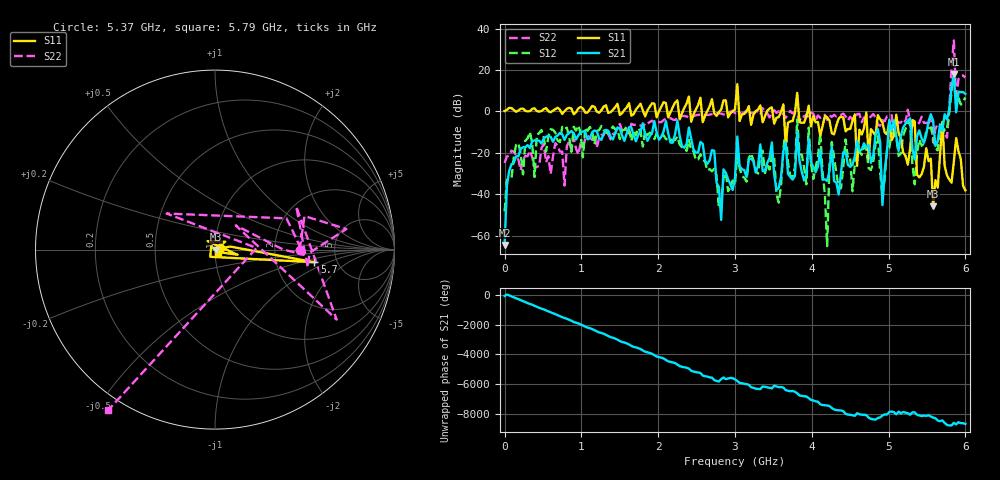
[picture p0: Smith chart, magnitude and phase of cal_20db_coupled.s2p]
#  HZ  S  DB  R  50.0
! Rohde & Schwarz ZVL13 2Ports - Version 3.20 - 1303.6509k13 SN: 100953
! Date: 2024-10-09 08:24:26
! Data & Calibration Information:
! Trc1:S11(TOSM) Trc4:S21(TOSM) Trc2:S12(TOSM) Trc3:S22(TOSM)
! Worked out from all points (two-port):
!   201 points, 9 kHz to 6 GHz, reference 50 ohm
!   highest |S21| = 18.05 dB at 5.85 GHz (marker M1); lowest = -64.5 dB at 9 kHz (marker M2)
!   |S21| within 3 dB of the highest: 5.835237 GHz to 5.854857 GHz (19.62 MHz wide, 0.336 % of centre)
!   lowest |S11| = -45.9 dB at 5.58 GHz (marker M3), VSWR 1.01, Z = 50.5 - j0.082 ohm
!   |S11| at or under -10 dB: 5.129 GHz to 5.298 GHz (169.3 MHz wide, 3.25 % of centre); 5.346 GHz to 5.691 GHz (344.8 MHz wide, 6.25 % of centre); 5.707 GHz to end of sweep (the widest 3 of 12)
!   |S22| runs from -35.9 to 34.2 dB; largest |S21 - S12| = 6
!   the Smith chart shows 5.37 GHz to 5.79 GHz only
!   S11 on the Smith chart (normalised r, x): 5.37 GHz: 1.06, +0.01; 5.7 GHz: 3.37, -0.69; 5.79 GHz: 1.03, -0.04
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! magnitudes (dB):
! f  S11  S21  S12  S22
! 9 kHz  0.1  -64.5  -48.3  -24.9
! 210 MHz  1.2  -18.2  -20.8  -28.4
! 1.02 GHz  1.4  -9.7  -22.2  -17.1
! 2.01 GHz  0.0  -13.7  -11.0  -5.2
! 3 GHz  0.9  -32.1  -35.6  -0.8
! 3.57 GHz  -2.7  -36.9  -44.1  0.1
! 3.81 GHz  8.9  -9.9  -3.8  -1.5
! 4.02 GHz  -2.3  -27.0  -32.6  -1.1
! 4.11 GHz  -11.7  -18.6  -10.4  -3.2
! 4.2 GHz  -2.9  -33.6  -65.1  -4.2
! 4.26 GHz  -10.5  -16.9  -14.8  -2.7
! 4.53 GHz  -4.7  -25.7  -38.6  -4.0
! 4.86 GHz  -1.9  -8.6  -12.0  -6.4
! 4.92 GHz  -5.4  -45.3  -41.3  -4.3
! 5.01 GHz  -4.6  -4.1  -17.5  -2.4
! 5.37 GHz  -30.6  -12.1  -20.2  -6.5
! 5.58 GHz  -45.9  -4.6  -12.1  -15.0
! 5.7 GHz  -5.1  -9.5  -12.1  -7.2
! 5.79 GHz  -32.9  1.0  -0.5  0.6
! 5.85 GHz  -24.1  18.1  16.4  34.2
! 5.88 GHz  -12.9  -0.5  2.8  5.1
! 6 GHz  -38.1  8.5  6.7  16.3
